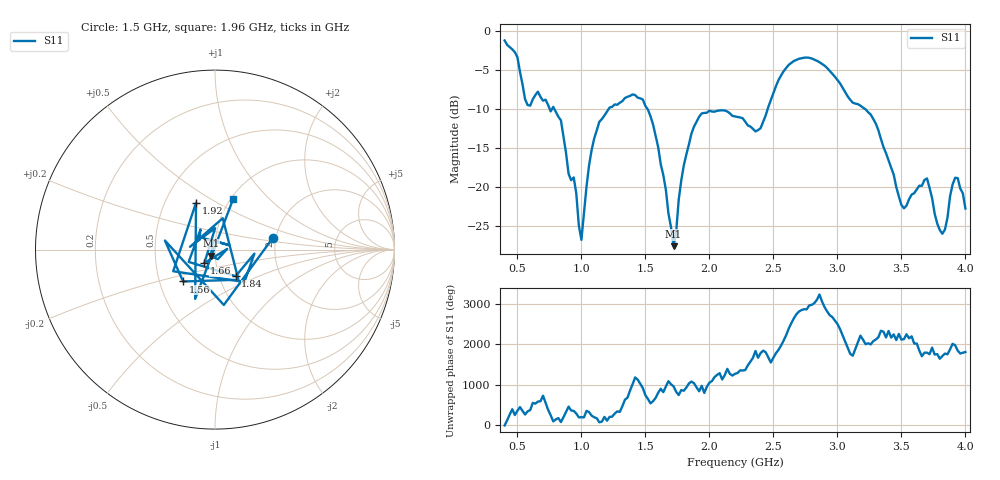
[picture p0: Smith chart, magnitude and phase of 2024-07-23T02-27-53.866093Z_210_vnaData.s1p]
!Created with skrf (http://scikit-rf.org).
# Hz S RI R 50.0
!freq ReS11 ImS11
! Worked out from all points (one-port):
!   181 points, 400 MHz to 4 GHz, reference 50 ohm
!   lowest |S11| = -27.5 dB at 1.72 GHz (marker M1), VSWR 1.09, Z = 47.6 - j3.31 ohm
!   |S11| at or under -10 dB: 788.3 MHz to 1.213 GHz (425.1 MHz wide, 42.5 % of centre); 1.516 GHz to 2.456 GHz (940 MHz wide, 47.3 % of centre); 3.215 GHz to end of sweep (the widest 3 of 4)
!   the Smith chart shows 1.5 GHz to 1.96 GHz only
!   S11 on the Smith chart (normalised r, x): 1.5 GHz: 1.93, +0.29; 1.56 GHz: 0.66, -0.25; 1.66 GHz: 0.88, -0.13; 1.84 GHz: 1.20, -0.37; 1.92 GHz: 0.71, +0.41; 1.96 GHz: 1.03, +0.63
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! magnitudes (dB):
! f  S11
! 400 MHz  -1.3
! 500 MHz  -3.4
! 580 MHz  -9.5
! 660 MHz  -7.8
! 860 MHz  -13.6
! 940 MHz  -18.7
! 1 GHz  -26.7
! 1.1 GHz  -13.8
! 1.3 GHz  -9.2
! 1.5 GHz  -9.6
! 1.56 GHz  -12.0
! 1.66 GHz  -20.3
! 1.72 GHz  -27.5
! 1.76 GHz  -21.6
! 1.84 GHz  -14.5
! 1.92 GHz  -11.0
! 1.96 GHz  -10.5
! 2.2 GHz  -11.0
! 2.4 GHz  -12.5
! 2.66 GHz  -3.9
! 3.1 GHz  -8.8
! 3.26 GHz  -10.7
! 3.5 GHz  -22.3
! 3.56 GHz  -21.5
! 3.7 GHz  -18.9
! 3.82 GHz  -25.9
! 3.94 GHz  -18.8
! 4 GHz  -22.7
